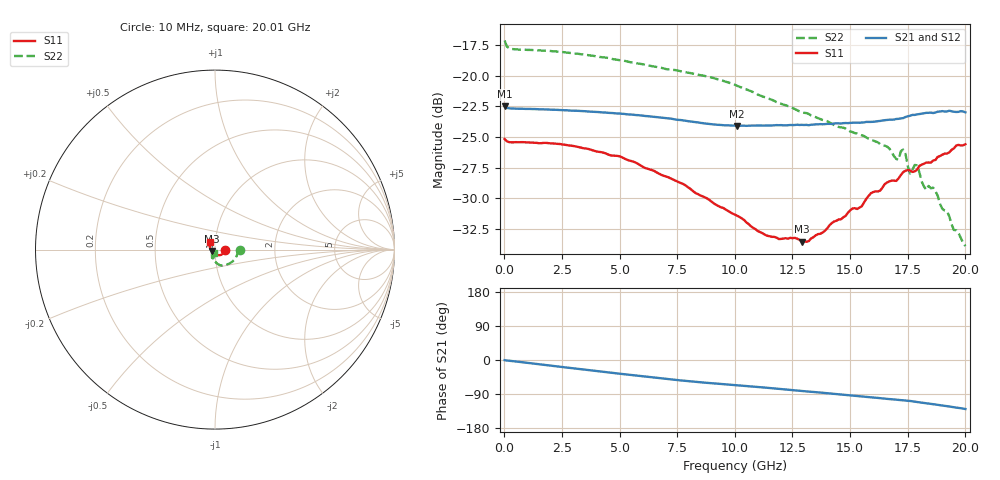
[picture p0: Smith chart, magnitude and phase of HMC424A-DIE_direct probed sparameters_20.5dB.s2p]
!s2p File: Measurements: S11, S21, S12, S22
# GHz S dB R 50.0
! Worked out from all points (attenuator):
!   201 points, 10 MHz to 20.01 GHz, reference 50 ohm
!   highest |S21| = -22.51 dB at 10 MHz (marker M1); lowest = -24.1 dB at 10.11 GHz (marker M2)
!   lowest |S11| = -33.5 dB at 12.91 GHz (marker M3), VSWR 1.04, Z = 48.2 - j0.934 ohm
!   |S11| at or under -10 dB: start of sweep to end of sweep
!   |S22| runs from -33.9 to -17.1 dB; largest |S21 - S12| = 0.00083
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0.01  -25.18 -0.1  -22.51 -0.4  -22.51 -0.2  -17.14 -1.2
0.31  -25.44 -2.4  -22.69 -2.6  -22.69 -2.6  -17.83 -3.5
3.41  -25.92 -23.8  -22.90 -24.9  -22.90 -24.9  -18.28 -26.5
6.71  -28.00 -51.4  -23.41 -47.8  -23.41 -47.8  -19.33 -49.3
10.01  -31.34 -90.8  -24.08 -66.2  -24.08 -66.2  -20.76 -71.7
10.11  -31.43 -92.0  -24.10 -66.7  -24.09 -66.6  -20.84 -72.4
11.41  -33.06 -117.9  -24.07 -73.4  -24.06 -73.3  -21.82 -79.4
12.91  -33.55 -152.5  -24.02 -81.6  -24.00 -81.6  -22.97 -85.9
13.41  -33.18 -164.4  -24.00 -84.2  -24.01 -84.2  -23.33 -88.0
15.51  -30.66 157.7  -23.83 -96.2  -23.80 -96.1  -24.87 -96.1
15.91  -29.59 151.2  -23.78 -98.5  -23.77 -98.6  -25.23 -98.3
16.71  -28.63 141.1  -23.60 -103.0  -23.58 -103.1  -25.95 -104.1
17.11  -28.38 139.6  -23.53 -105.3  -23.46 -105.4  -26.87 -101.0
17.31  -27.87 137.8  -23.47 -106.3  -23.45 -106.7  -26.04 -105.2
17.61  -27.74 133.2  -23.28 -108.1  -23.32 -108.7  -28.00 -108.2
17.91  -27.68 132.2  -23.17 -110.9  -23.21 -110.9  -27.32 -109.6
18.21  -27.19 128.3  -23.08 -113.4  -23.12 -113.3  -29.04 -110.2
18.61  -26.93 127.1  -23.06 -116.7  -23.04 -116.5  -29.14 -109.3
19.01  -26.45 125.9  -22.90 -120.2  -22.94 -120.1  -30.87 -110.7
19.21  -26.36 125.5  -22.93 -121.7  -22.92 -121.6  -31.06 -109.7
19.51  -25.94 126.2  -22.95 -125.0  -22.94 -124.8  -32.59 -108.9
20.01  -25.60 125.2  -23.00 -129.3  -22.98 -129.3  -33.91 -99.7
